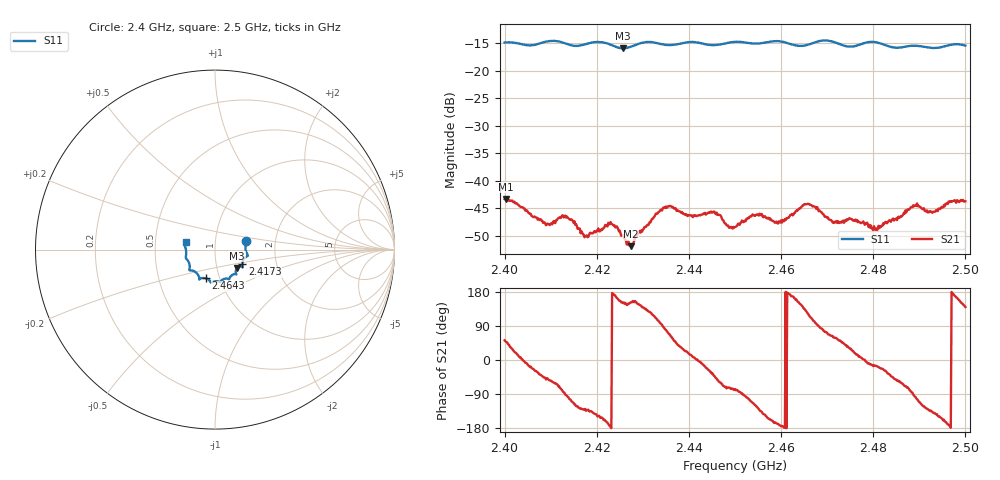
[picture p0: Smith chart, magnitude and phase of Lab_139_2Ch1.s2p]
# Hz S RI R 50
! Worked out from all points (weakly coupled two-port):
!   601 points, 2.4 GHz to 2.5 GHz, reference 50 ohm
!   highest |S21| = -43.33 dB at 2.4003 GHz (marker M1); lowest = -51.9 dB at 2.4273 GHz (marker M2)
!   lowest |S11| = -15.9 dB at 2.4257 GHz (marker M3), VSWR 1.38, Z = 62.4 - j13.1 ohm
!   |S11| at or under -10 dB: start of sweep to end of sweep
!   S12 and S22 are empty: the file has one direction only
!   S11 on the Smith chart (normalised r, x): 2.4 GHz: 1.41, +0.14; 2.4173 GHz: 1.34, -0.23; 2.4643 GHz: 0.86, -0.28; 2.5 GHz: 0.72, +0.06
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2.4e9  0.1733 0.0494  0.00419 0.00535  0 0  0 0
2.400333e9  0.1743 0.0482  0.00457 0.00505  0 0  0 0
2.409333e9  0.1827 -0.0302  0.00268 -0.00308  0 0  0 0
2.4135e9  0.1697 -0.0431  -0.000312 -0.00471  0 0  0 0
2.416667e9  0.1529 -0.0749  -0.00216 -0.00272  0 0  0 0
2.417333e9  0.1522 -0.0823  -0.00205 -0.00227  0 0  0 0
2.423e9  0.1452 -0.0933  -0.0042 -0.000253  0 0  0 0
2.425667e9  0.1226 -0.1022  -0.00277 0.00158  0 0  0 0
2.427333e9  0.1155 -0.1175  -0.00223 0.00122  0 0  0 0
2.433333e9  0.1128 -0.1365  -0.00123 0.00501  0 0  0 0
2.445167e9  0.0539 -0.1622  0.00418 -0.00301  0 0  0 0
2.45e9  0.0298 -0.1808  0.000869 -0.00369  0 0  0 0
2.454333e9  0.00756 -0.1762  -0.00231 -0.0042  0 0  0 0
2.459667e9  -0.0231 -0.1838  -0.00419 -0.00056  0 0  0 0
2.464333e9  -0.0504 -0.1603  -0.00475 0.00321  0 0  0 0
2.466667e9  -0.0762 -0.1597  -0.00198 0.00563  0 0  0 0
2.471667e9  -0.0871 -0.1589  0.00219 0.00354  0 0  0 0
2.480333e9  -0.1431 -0.1127  0.00354 -0.000939  0 0  0 0
2.483333e9  -0.141 -0.0894  0.00346 -0.00256  0 0  0 0
2.489e9  -0.1625 -0.0459  -0.000625 -0.00591  0 0  0 0
2.493e9  -0.1604 -0.0137  -0.00394 -0.00343  0 0  0 0
2.5e9  -0.164 0.0422  -0.00497 0.00418  0 0  0 0
